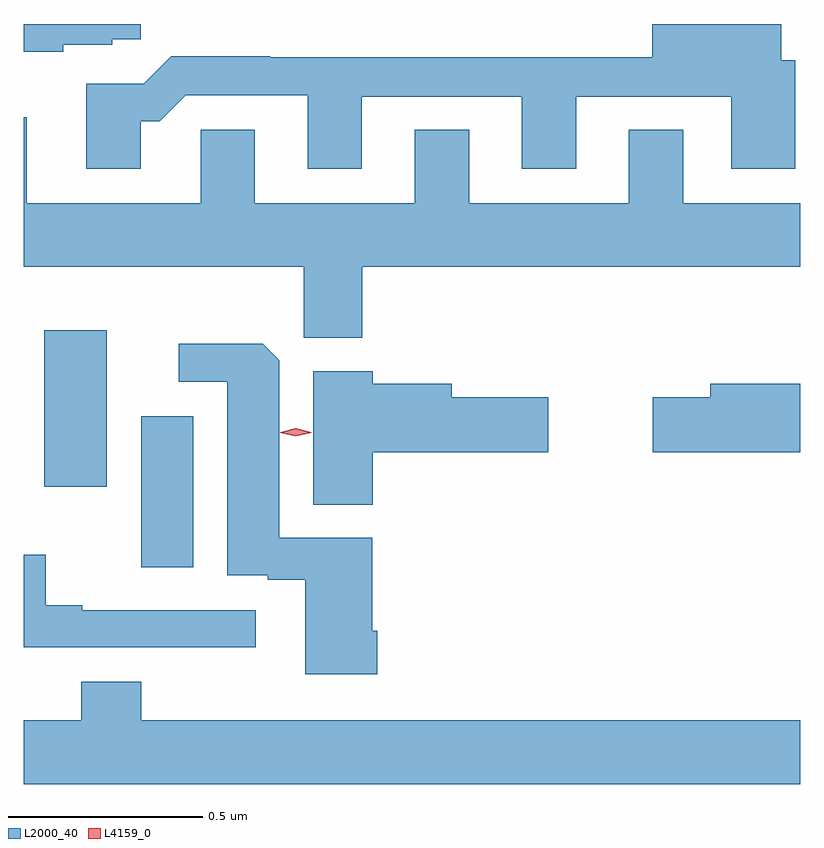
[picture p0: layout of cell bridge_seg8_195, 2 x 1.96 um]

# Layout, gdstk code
import gdstk
lib = gdstk.Library(unit=1e-6, precision=1e-09)
def R(c, l, rs):  # rectangles x0, y0, x1, y1
    for r in rs: c.add(gdstk.rectangle(r[:2], r[2:], *l))
def P(c, l, *ps):  # polygons
    for p in ps: c.add(gdstk.Polygon(p, *l))
L2000_40 = (2000, 40)
L4159_0 = (4159, 0)

bridge_seg8_195 = lib.new_cell('bridge_seg8_195')
R(bridge_seg8_195, L2000_40, [(255.038,1114.394,255.172,1114.783), (254.789,1114.602,254.95,1115.005)])
P(bridge_seg8_195, L2000_40, [(254.838,1115.741),(254.964,1115.741),(254.964,1115.755),(255.037,1115.755),(255.037,1115.794),(254.736,1115.794),(254.736,1115.723),(254.838,1115.723)],
  [(255.037,1115.543),(255.086,1115.543),(255.153,1115.61),(255.467,1115.61),(255.467,1115.421),(255.607,1115.421),(255.607,1115.607),(256.019,1115.607),(256.019,1115.421),(256.159,1115.421),(256.159,1115.607),(256.559,1115.607),(256.559,1115.421),(256.724,1115.421),(256.724,1115.7),(256.687,1115.7),(256.687,1115.794),(256.355,1115.794),(256.355,1115.708),(255.371,1115.708),(255.371,1115.711),(255.116,1115.711),(255.045,1115.64),(254.897,1115.64),(254.897,1115.421),(255.037,1115.421)],
  [(255.608,1115.168),(256.736,1115.168),(256.736,1115.332),(256.435,1115.332),(256.435,1115.522),(256.295,1115.522),(256.295,1115.332),(255.883,1115.332),(255.883,1115.522),(255.743,1115.522),(255.743,1115.332),(255.331,1115.332),(255.331,1115.522),(255.192,1115.522),(255.192,1115.332),(254.743,1115.332),(254.743,1115.554),(254.736,1115.554),(254.736,1115.168),(255.457,1115.168),(255.457,1114.986),(255.608,1114.986)],
  [(255.647,1114.231),(255.634,1114.231),(255.634,1114.47),(255.394,1114.47),(255.394,1114.928),(255.352,1114.97),(255.135,1114.97),(255.135,1114.872),(255.26,1114.872),(255.26,1114.374),(255.365,1114.374),(255.365,1114.362),(255.461,1114.362),(255.461,1114.119),(255.647,1114.119)],
  [(255.635,1114.691),(256.087,1114.691),(256.087,1114.833),(255.838,1114.833),(255.838,1114.867),(255.635,1114.867),(255.635,1114.9),(255.482,1114.9),(255.482,1114.555),(255.635,1114.555)],
  [(256.736,1114.867),(256.505,1114.867),(256.505,1114.833),(256.356,1114.833),(256.356,1114.691),(256.736,1114.691)],
  [(255.334,1114.284),(254.887,1114.284),(254.887,1114.297),(254.793,1114.297),(254.793,1114.426),(254.736,1114.426),(254.736,1114.188),(255.334,1114.188)],
  [(256.736,1114),(255.039,1114),(255.039,1114.099),(254.884,1114.099),(254.884,1114),(254.736,1114),(254.736,1113.836),(256.736,1113.836)])
P(bridge_seg8_195, L4159_0, [(255.437,1114.732),(255.397,1114.741),(255.397,1114.742),(255.397,1114.742),(255.437,1114.752),(255.477,1114.742),(255.477,1114.742),(255.477,1114.741)])

lib.write_gds('bridge_seg8_195.gds')
